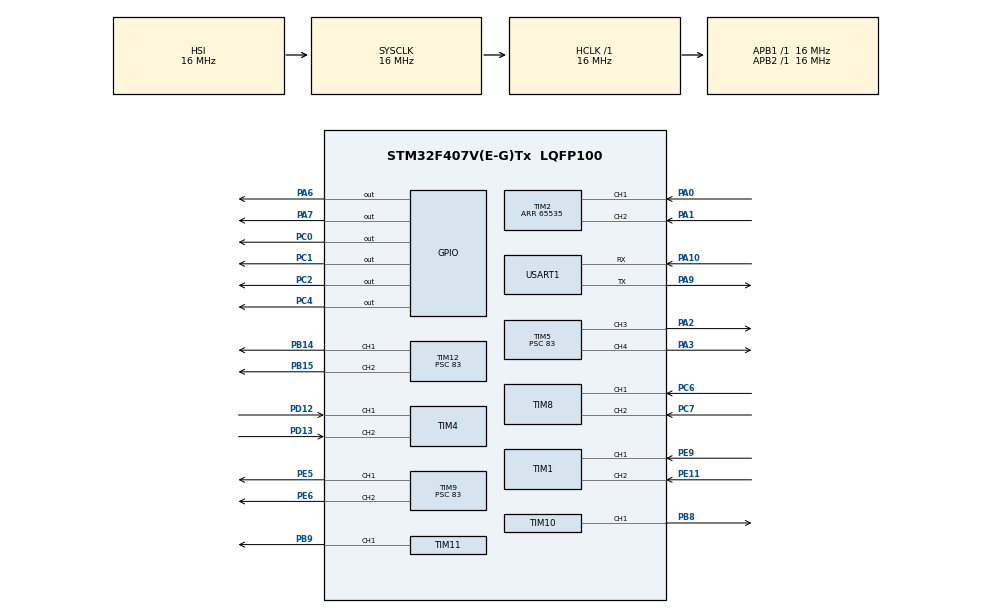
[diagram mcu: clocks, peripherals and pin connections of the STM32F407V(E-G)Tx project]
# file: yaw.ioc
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Mcu.Family=STM32F4
Mcu.Name=STM32F407V(E-G)Tx
Mcu.Package=LQFP100
NVIC.PriorityGroup=NVIC_PRIORITYGROUP_4
NVIC.TIM3_IRQn=true\:0\:0\:false\:false\:true\:true\:true\:true
NVIC.TIM6_DAC_IRQn=true\:0\:0\:false\:false\:true\:true\:true\:true
NVIC.TIM7_IRQn=true\:0\:0\:false\:false\:true\:true\:true\:true
PA0-WKUP.Signal=S_TIM2_CH1_ETR
PA1.Signal=S_TIM2_CH2
PA10.Mode=Asynchronous
PA10.Signal=USART1_RX
PA13.Mode=Serial_Wire
PA13.Signal=SYS_JTMS-SWDIO
PA14.Mode=Serial_Wire
PA14.Signal=SYS_JTCK-SWCLK
PA2.Signal=S_TIM5_CH3
PA3.Signal=S_TIM5_CH4
PA6.Signal=GPIO_Output
PA7.Signal=GPIO_Output
PA9.Mode=Asynchronous
PA9.Signal=USART1_TX
PB14.Signal=S_TIM12_CH1
PB15.Signal=S_TIM12_CH2
PB8.Signal=S_TIM10_CH1
PB9.Signal=S_TIM11_CH1
PC0.Signal=GPIO_Output
PC1.Signal=GPIO_Output
PC2.Signal=GPIO_Output
PC4.Signal=GPIO_Output
PC6.Signal=S_TIM8_CH1
PC7.Signal=S_TIM8_CH2
PD12.Signal=S_TIM4_CH1
PD13.Signal=S_TIM4_CH2
PE11.Signal=S_TIM1_CH2
PE5.Signal=S_TIM9_CH1
PE6.Signal=S_TIM9_CH2
PE9.Signal=S_TIM1_CH1
ProjectManager.HeapSize=0x200
ProjectManager.StackSize=0x400
ProjectManager.TargetToolchain=STM32CubeIDE
RCC.AHBFreq_Value=16000000
RCC.APB1Freq_Value=16000000
RCC.APB2Freq_Value=16000000
RCC.CortexFreq_Value=16000000
RCC.HSE_VALUE=25000000
RCC.HSI_VALUE=16000000
RCC.LSE_VALUE=32768
RCC.SYSCLKFreq_VALUE=16000000
RCC.VCOOutputFreq_Value=192000000
SH.S_TIM10_CH1.0=TIM10_CH1,PWM Generation1 CH1
SH.S_TIM11_CH1.0=TIM11_CH1,PWM Generation1 CH1
SH.S_TIM12_CH1.0=TIM12_CH1,PWM Generation1 CH1
SH.S_TIM12_CH2.0=TIM12_CH2,PWM Generation2 CH2
SH.S_TIM1_CH1.0=TIM1_CH1,Encoder_Interface
SH.S_TIM1_CH2.0=TIM1_CH2,Encoder_Interface
SH.S_TIM2_CH1_ETR.0=TIM2_CH1,Encoder_Interface
SH.S_TIM2_CH2.0=TIM2_CH2,Encoder_Interface
SH.S_TIM4_CH1.0=TIM4_CH1,Encoder_Interface
SH.S_TIM4_CH2.0=TIM4_CH2,Encoder_Interface
SH.S_TIM5_CH3.0=TIM5_CH3,PWM Generation3 CH3
SH.S_TIM5_CH4.0=TIM5_CH4,PWM Generation4 CH4
SH.S_TIM8_CH1.0=TIM8_CH1,Encoder_Interface
SH.S_TIM8_CH2.0=TIM8_CH2,Encoder_Interface
SH.S_TIM9_CH1.0=TIM9_CH1,PWM Generation1 CH1
SH.S_TIM9_CH2.0=TIM9_CH2,PWM Generation2 CH2
TIM1.EncoderMode=TIM_ENCODERMODE_TI12
TIM10.Channel=TIM_CHANNEL_1
TIM10.Period=999
TIM10.Prescaler=83
TIM11.Channel=TIM_CHANNEL_1
TIM11.Period=999
TIM11.Prescaler=83
TIM12.Channel-PWM\ Generation1\ CH1=TIM_CHANNEL_1
TIM12.Channel-PWM\ Generation2\ CH2=TIM_CHANNEL_2
TIM12.Period=999
TIM12.Prescaler=83
TIM2.Period=65535
TIM3.Period=999
TIM3.Prescaler=16-1
TIM4.EncoderMode=TIM_ENCODERMODE_TI12
TIM5.Channel-PWM\ Generation3\ CH3=TIM_CHANNEL_3
TIM5.Channel-PWM\ Generation4\ CH4=TIM_CHANNEL_4
TIM5.Period=999
TIM5.Prescaler=83
TIM6.Period=0xFFFF
TIM6.Prescaler=16-1
TIM7.Period=4999
TIM7.Prescaler=16-1
TIM8.EncoderMode=TIM_ENCODERMODE_TI12
TIM9.Channel-PWM\ Generation1\ CH1=TIM_CHANNEL_1
TIM9.Channel-PWM\ Generation2\ CH2=TIM_CHANNEL_2
TIM9.Period=999
TIM9.Prescaler=83
USART1.VirtualMode=VM_ASYNC
VP_TIM10_VS_ClockSourceINT.Mode=Enable_Timer
VP_TIM11_VS_ClockSourceINT.Mode=Enable_Timer
VP_TIM12_VS_ClockSourceINT.Mode=Internal
VP_TIM3_VS_ClockSourceINT.Mode=Internal
VP_TIM5_VS_ClockSourceINT.Mode=Internal
VP_TIM6_VS_ClockSourceINT.Mode=Enable_Timer
VP_TIM7_VS_ClockSourceINT.Mode=Enable_Timer
VP_TIM9_VS_ClockSourceINT.Mode=Internal
board=custom

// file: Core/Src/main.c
/* USER CODE BEGIN Header */
/**
  ******************************************************************************
  * @file           : main.c
  * @brief          : SolCam Driver
  *                   휠모터4(메카넘) + 리프트(TIM3) + yaw(TIM7) + 엔코더4 + USART1
  ******************************************************************************
  */
/* USER CODE END Header */
#include "main.h"
#include <stdlib.h>
#include <string.h>
#include <math.h>

UART_HandleTypeDef huart1;

TIM_HandleTypeDef htim1;
TIM_HandleTypeDef htim2;
TIM_HandleTypeDef htim3;
TIM_HandleTypeDef htim4;
TIM_HandleTypeDef htim5;
TIM_HandleTypeDef htim6;
TIM_HandleTypeDef htim7;
TIM_HandleTypeDef htim8;
TIM_HandleTypeDef htim9;
TIM_HandleTypeDef htim10;
TIM_HandleTypeDef htim11;
TIM_HandleTypeDef htim12;

void SystemClock_Config(void);
static void MX_GPIO_Init(void);
static void MX_USART1_Init(void);
static void MX_TIM1_Init(void);
static void MX_TIM2_Init(void);
static void MX_TIM3_Init(void);
static void MX_TIM4_Init(void);
static void MX_TIM5_Init(void);
static void MX_TIM6_Init(void);
static void MX_TIM7_Init(void);
static void MX_TIM8_Init(void);
static void MX_TIM9_Init(void);
static void MX_TIM10_Init(void);
static void MX_TIM11_Init(void);
static void MX_TIM12_Init(void);

/* USER CODE BEGIN 0 */

// ==========================================
// UART 프로토콜
// ==========================================
// Jetson → STM32 (28바이트):
// [0xAA][vx:4][vy:4][wz:4][lift_target:4][lift_active:1][yaw_target:4][yaw_active:1][checksum:1]
//
// STM32 → Jetson (19바이트):
// [0xBB][enc1:2][enc2:2][enc3:2][enc4:2][lift_height:4][yaw_angle:4][checksum:1]

#define UART_RX_SIZE    28
#define UART_TX_SIZE    19
#define UART_HEADER_RX  0xAA
#define UART_HEADER_TX  0xBB

uint8_t uart_rx_buf[UART_RX_SIZE];
uint8_t uart_tx_buf[UART_TX_SIZE];
volatile uint8_t uart_rx_ready = 0;

// ==========================================
// 제어 명령
// ==========================================
typedef struct {
    float   vx;
    float   vy;
    float   wz;
    float   lift_target;
    uint8_t lift_active;
    float   yaw_target;
    uint8_t yaw_active;
} ControlCmd;

volatile ControlCmd cmd = {0};

// ==========================================
// 안전 워치독
//   Jetson(브리지)이 죽거나 USB가 빠지면 마지막 PWM이 유지돼 바퀴가 계속
//   돈다. 유효 프레임을 마지막으로 받은 시각을 기록해, CMD_TIMEOUT_MS 동안
//   소식이 없으면 메카넘을 0으로 강제한다(리프트/yaw는 현위치 유지).
// ==========================================
#define CMD_TIMEOUT_MS  300
volatile uint32_t last_cmd_tick = 0;

// ==========================================
// 메카넘 상수
// ==========================================
#define V_MAX       0.4f    // m/s 최대속도
#define PWM_MAX     999     // PWM 최대값
#define WHEEL_R     0.05f   // 휠 반지름 5cm
#define WHEEL_LX    0.36f   // 좌우 거리 절반 (72cm/2)
#define WHEEL_LY    0.26f   // 전후 거리 절반 (52cm/2)

// ==========================================
// 리프트 상수 (NEMA23 + TB6600)
// ==========================================
#define LIFT_STEPS_PER_MM   38.55f
#define LIFT_MIN_MM         0.0f
#define LIFT_MAX_MM         850.0f
#define LIFT_MAX_STEPS      32768

// ==========================================
// yaw 상수 (NEMA17 + A4988)
// ==========================================
#define YAW_STEPS_PER_RAD   636.6f
#define YAW_MIN_STEPS       -10000
#define YAW_MAX_STEPS       10000

// ==========================================
// 리프트 상태
// ==========================================
volatile int32_t lift_current_steps = 0;
volatile int32_t lift_target_steps  = 0;
volatile uint8_t lift_running       = 0;
volatile uint8_t lift_pulse_state   = 0;

// ==========================================
// yaw 상태
// ==========================================
volatile int32_t yaw_current_steps  = 0;
volatile int32_t yaw_target_steps   = 0;
volatile uint8_t yaw_running        = 0;
volatile uint8_t yaw_pulse_state    = 0;

// ==========================================
// delay_us (TIM6)
// ==========================================
void delay_us(uint32_t us)
{
    __HAL_TIM_SET_COUNTER(&htim6, 0);
    while (__HAL_TIM_GET_COUNTER(&htim6) < us);
}

// ==========================================
// 메카넘 역기구학
// 모터배치:
//   1(FL) --- 2(FR)
//   3(RL) --- 4(RR)
// ==========================================
void Mecanum_SetVelocity(float vx, float vy, float wz)
{
    float lxy = WHEEL_LX + WHEEL_LY;
    float w_max_limit = V_MAX / WHEEL_R;

    // 역기구학 계산
    float w_fl = (vx - vy - lxy * wz) / WHEEL_R;  // 모터1
    float w_fr = (vx + vy + lxy * wz) / WHEEL_R;  // 모터2
    float w_rl = (vx + vy - lxy * wz) / WHEEL_R;  // 모터3
    float w_rr = (vx - vy + lxy * wz) / WHEEL_R;  // 모터4

    // 정규화
    float max_w = fabsf(w_fl);
    if (fabsf(w_fr) > max_w) max_w = fabsf(w_fr);
    if (fabsf(w_rl) > max_w) max_w = fabsf(w_rl);
    if (fabsf(w_rr) > max_w) max_w = fabsf(w_rr);

    if (max_w > w_max_limit) {
        w_fl = w_fl / max_w * w_max_limit;
        w_fr = w_fr / max_w * w_max_limit;
        w_rl = w_rl / max_w * w_max_limit;
        w_rr = w_rr / max_w * w_max_limit;
    }

    // 모터1 FL (htim10 R_PWM, htim11 L_PWM)
    if (w_fl >= 0) {
        __HAL_TIM_SET_COMPARE(&htim10, TIM_CHANNEL_1,
            (uint32_t)(w_fl / w_max_limit * PWM_MAX));
        __HAL_TIM_SET_COMPARE(&htim11, TIM_CHANNEL_1, 0);
    } else {
        __HAL_TIM_SET_COMPARE(&htim10, TIM_CHANNEL_1, 0);
        __HAL_TIM_SET_COMPARE(&htim11, TIM_CHANNEL_1,
            (uint32_t)(-w_fl / w_max_limit * PWM_MAX));
    }

    // 모터2 FR (htim5 CH3 R_PWM, CH4 L_PWM)
    if (w_fr >= 0) {
        __HAL_TIM_SET_COMPARE(&htim5, TIM_CHANNEL_3,
            (uint32_t)(w_fr / w_max_limit * PWM_MAX));
        __HAL_TIM_SET_COMPARE(&htim5, TIM_CHANNEL_4, 0);
    } else {
        __HAL_TIM_SET_COMPARE(&htim5, TIM_CHANNEL_3, 0);
        __HAL_TIM_SET_COMPARE(&htim5, TIM_CHANNEL_4,
            (uint32_t)(-w_fr / w_max_limit * PWM_MAX));
    }

    // 모터3 RL (htim9 CH1 R_PWM, CH2 L_PWM)
    if (w_rl >= 0) {
        __HAL_TIM_SET_COMPARE(&htim9, TIM_CHANNEL_1,
            (uint32_t)(w_rl / w_max_limit * PWM_MAX));
        __HAL_TIM_SET_COMPARE(&htim9, TIM_CHANNEL_2, 0);
    } else {
        __HAL_TIM_SET_COMPARE(&htim9, TIM_CHANNEL_1, 0);
        __HAL_TIM_SET_COMPARE(&htim9, TIM_CHANNEL_2,
            (uint32_t)(-w_rl / w_max_limit * PWM_MAX));
    }

    // 모터4 RR (htim12 CH1 R_PWM, CH2 L_PWM)
    if (w_rr >= 0) {
        __HAL_TIM_SET_COMPARE(&htim12, TIM_CHANNEL_1,
            (uint32_t)(w_rr / w_max_limit * PWM_MAX));
        __HAL_TIM_SET_COMPARE(&htim12, TIM_CHANNEL_2, 0);
    } else {
        __HAL_TIM_SET_COMPARE(&htim12, TIM_CHANNEL_1, 0);
        __HAL_TIM_SET_COMPARE(&htim12, TIM_CHANNEL_2,
            (uint32_t)(-w_rr / w_max_limit * PWM_MAX));
    }
}

// ==========================================
// 리프트 제어
// ==========================================
int32_t lift_meter_to_steps(float height_m)
{
    float height_mm = height_m * 1000.0f;
    if (height_mm < LIFT_MIN_MM) height_mm = LIFT_MIN_MM;
    if (height_mm > LIFT_MAX_MM) height_mm = LIFT_MAX_MM;
    return (int32_t)(height_mm * LIFT_STEPS_PER_MM);
}

float lift_steps_to_meter(int32_t steps)
{
    return (float)steps / LIFT_STEPS_PER_MM / 1000.0f;
}

void Lift_SetTarget(float target_m, uint8_t active)
{
    if (!active) {
        lift_running = 0;
        HAL_TIM_Base_Stop_IT(&htim3);
        return;
    }

    int32_t target = lift_meter_to_steps(target_m);
    int32_t delta  = target - lift_current_steps;
    if (abs(delta) < 5) return;

    lift_target_steps = target;
    lift_running      = 1;

    if (delta > 0)
        HAL_GPIO_WritePin(GPIOA, GPIO_PIN_7, GPIO_PIN_SET);   // UP
    else
        HAL_GPIO_WritePin(GPIOA, GPIO_PIN_7, GPIO_PIN_RESET); // DOWN

    delay_us(5);
    HAL_TIM_Base_Start_IT(&htim3);
}

float Lift_GetHeight(void)
{
    return lift_steps_to_meter(lift_current_steps);
}

// ==========================================
// yaw 제어
// ==========================================
void Yaw_SetTarget(float target_rad, uint8_t active)
{
    if (!active) {
        yaw_running = 0;
        HAL_TIM_Base_Stop_IT(&htim7);
        return;
    }

    int32_t target = (int32_t)(target_rad * YAW_STEPS_PER_RAD);

    // 소프트 리밋
    if (target > YAW_MAX_STEPS) target = YAW_MAX_STEPS;
    if (target < YAW_MIN_STEPS) target = YAW_MIN_STEPS;

    int32_t delta = target - yaw_current_steps;
    if (abs(delta) < 2) return;

    yaw_target_steps = target;
    yaw_running      = 1;

    if (delta > 0)
        HAL_GPIO_WritePin(GPIOC, GPIO_PIN_1, GPIO_PIN_SET);   // CW
    else
        HAL_GPIO_WritePin(GPIOC, GPIO_PIN_1, GPIO_PIN_RESET); // CCW

    delay_us(5);
    HAL_TIM_Base_Start_IT(&htim7);
}

float Yaw_GetAngle(void)
{
    return (float)yaw_current_steps / YAW_STEPS_PER_RAD;
}

// ==========================================
// TIM 인터럽트 콜백
// ==========================================
void HAL_TIM_PeriodElapsedCallback(TIM_HandleTypeDef *htim)
{
    // 리프트 (TIM3)
    if (htim->Instance == TIM3)
    {
        if (!lift_running) return;

        // 소프트 리밋
        if (lift_current_steps <= 0 &&
            HAL_GPIO_ReadPin(GPIOA, GPIO_PIN_7) == GPIO_PIN_RESET) {
            lift_running = 0;
            HAL_TIM_Base_Stop_IT(&htim3);
            return;
        }
        if (lift_current_steps >= LIFT_MAX_STEPS &&
            HAL_GPIO_ReadPin(GPIOA, GPIO_PIN_7) == GPIO_PIN_SET) {
            lift_running = 0;
            HAL_TIM_Base_Stop_IT(&htim3);
            return;
        }

        // 목표 도달
        if (lift_current_steps == lift_target_steps) {
            lift_running = 0;
            HAL_TIM_Base_Stop_IT(&htim3);
            return;
        }

        // 펄스 토글
        lift_pulse_state = !lift_pulse_state;
        HAL_GPIO_WritePin(GPIOA, GPIO_PIN_6,
            lift_pulse_state ? GPIO_PIN_SET : GPIO_PIN_RESET);

        // 스텝 카운터
        if (lift_pulse_state) {
            if (HAL_GPIO_ReadPin(GPIOA, GPIO_PIN_7) == GPIO_PIN_SET)
                lift_current_steps++;
            else
                lift_current_steps--;
        }
    }

    // yaw (TIM7)
    if (htim->Instance == TIM7)
    {
        if (!yaw_running) return;

        // 목표 도달
        if (yaw_current_steps == yaw_target_steps) {
            yaw_running = 0;
            HAL_TIM_Base_Stop_IT(&htim7);
            return;
        }

        // 소프트 리밋
        if (yaw_current_steps <= YAW_MIN_STEPS &&
            HAL_GPIO_ReadPin(GPIOC, GPIO_PIN_1) == GPIO_PIN_RESET) {
            yaw_running = 0;
            HAL_TIM_Base_Stop_IT(&htim7);
            return;
        }
        if (yaw_current_steps >= YAW_MAX_STEPS &&
            HAL_GPIO_ReadPin(GPIOC, GPIO_PIN_1) == GPIO_PIN_SET) {
            yaw_running = 0;
            HAL_TIM_Base_Stop_IT(&htim7);
            return;
        }

        // 펄스 토글
        yaw_pulse_state = !yaw_pulse_state;
        HAL_GPIO_WritePin(GPIOC, GPIO_PIN_0,
            yaw_pulse_state ? GPIO_PIN_SET : GPIO_PIN_RESET);

        // 스텝 카운터
        if (yaw_pulse_state) {
            if (HAL_GPIO_ReadPin(GPIOC, GPIO_PIN_1) == GPIO_PIN_SET)
                yaw_current_steps++;
            else
                yaw_current_steps--;
        }
    }
}

// ==========================================
// UART 체크섬
// ==========================================
uint8_t calc_checksum(uint8_t *buf, uint16_t len)
{
    uint8_t sum = 0;
    for (uint16_t i = 0; i < len; i++) sum += buf[i];
    return sum;
}

// ==========================================
// UART 수신 콜백
// ==========================================
void HAL_UART_RxCpltCallback(UART_HandleTypeDef *huart)
{
    if (huart->Instance == USART1)
    {
        // 헤더 확인
        if (uart_rx_buf[0] != UART_HEADER_RX) {
            HAL_UART_Receive_IT(&huart1, uart_rx_buf, UART_RX_SIZE);
            return;
        }

        // 체크섬 확인
        uint8_t checksum = calc_checksum(uart_rx_buf, UART_RX_SIZE - 1);
        if (checksum != uart_rx_buf[UART_RX_SIZE - 1]) {
            HAL_UART_Receive_IT(&huart1, uart_rx_buf, UART_RX_SIZE);
            return;
        }

        // 파싱
        uint8_t *p = &uart_rx_buf[1];
        memcpy((void*)&cmd.vx,          p, 4); p += 4;
        memcpy((void*)&cmd.vy,          p, 4); p += 4;
        memcpy((void*)&cmd.wz,          p, 4); p += 4;
        memcpy((void*)&cmd.lift_target, p, 4); p += 4;
        cmd.lift_active = *p++;
        memcpy((void*)&cmd.yaw_target,  p, 4); p += 4;
        cmd.yaw_active  = *p;

        uart_rx_ready = 1;
        last_cmd_tick = HAL_GetTick();   // 워치독 갱신 (유효 프레임 수신)

        HAL_UART_Receive_IT(&huart1, uart_rx_buf, UART_RX_SIZE);
    }
}

// ==========================================
// Jetson으로 상태 송신
// ==========================================
void UART_SendStatus(int16_t e1, int16_t e2,
                     int16_t e3, int16_t e4)
{
    uint8_t *p = uart_tx_buf;
    *p++ = UART_HEADER_TX;
    memcpy(p, &e1, 2); p += 2;
    memcpy(p, &e2, 2); p += 2;
    memcpy(p, &e3, 2); p += 2;
    memcpy(p, &e4, 2); p += 2;

    float lift_h = Lift_GetHeight();
    float yaw_a  = Yaw_GetAngle();
    memcpy(p, &lift_h, 4); p += 4;   // [9..12]
    memcpy(p, &yaw_a,  4); p += 4;   // [13..16], p → 17

    // [17] reserved 를 먼저 0으로 확정한 뒤 체크섬을 계산해야
    //  sum(bytes[0..17]) 이 결정적이다. (원본은 미초기화 바이트가 섞여 버그)
    *p++ = 0;                                            // [17] reserved
    *p   = calc_checksum(uart_tx_buf, UART_TX_SIZE - 1); // [18] = sum(bytes[0..17])

    HAL_UART_Transmit(&huart1, uart_tx_buf, UART_TX_SIZE, 10);
}

/* USER CODE END 0 */

int main(void)
{
    HAL_Init();
    SystemClock_Config();

    MX_GPIO_Init();
    MX_USART1_Init();
    MX_TIM1_Init();
    MX_TIM2_Init();
    MX_TIM3_Init();
    MX_TIM4_Init();
    MX_TIM5_Init();
    MX_TIM6_Init();
    MX_TIM7_Init();
    MX_TIM8_Init();
    MX_TIM9_Init();
    MX_TIM10_Init();
    MX_TIM11_Init();
    MX_TIM12_Init();

    // 엔코더 시작
    HAL_TIM_Encoder_Start(&htim1, TIM_CHANNEL_ALL);
    HAL_TIM_Encoder_Start(&htim2, TIM_CHANNEL_ALL);
    HAL_TIM_Encoder_Start(&htim4, TIM_CHANNEL_ALL);
    HAL_TIM_Encoder_Start(&htim8, TIM_CHANNEL_ALL);

    // 휠모터 PWM 시작
    HAL_TIM_PWM_Start(&htim10, TIM_CHANNEL_1);
    HAL_TIM_PWM_Start(&htim11, TIM_CHANNEL_1);
    HAL_TIM_PWM_Start(&htim5,  TIM_CHANNEL_3);
    HAL_TIM_PWM_Start(&htim5,  TIM_CHANNEL_4);
    HAL_TIM_PWM_Start(&htim9,  TIM_CHANNEL_1);
    HAL_TIM_PWM_Start(&htim9,  TIM_CHANNEL_2);
    HAL_TIM_PWM_Start(&htim12, TIM_CHANNEL_1);
    HAL_TIM_PWM_Start(&htim12, TIM_CHANNEL_2);

    // 리프트 초기화
    // 수정
    HAL_GPIO_WritePin(GPIOC, GPIO_PIN_4, GPIO_PIN_SET);   // 리프트 ENA
    HAL_GPIO_WritePin(GPIOA, GPIO_PIN_6 | GPIO_PIN_7, GPIO_PIN_RESET); // 리프트 STEP/DIR 초기화

    // yaw 초기화
    HAL_GPIO_WritePin(GPIOC, GPIO_PIN_2, GPIO_PIN_SET);  // ENA
    HAL_GPIO_WritePin(GPIOC, GPIO_PIN_0 | GPIO_PIN_1, GPIO_PIN_RESET);

    // TIM6 카운터 시작 (delay_us용)
    HAL_TIM_Base_Start(&htim6);

    // 휠모터 정지
    Mecanum_SetVelocity(0.0f, 0.0f, 0.0f);

    // UART 수신 시작
    HAL_UART_Receive_IT(&huart1, uart_rx_buf, UART_RX_SIZE);

    while (1)
    {
        if (uart_rx_ready)
        {
            uart_rx_ready = 0;

            // A. 휠모터
            Mecanum_SetVelocity(cmd.vx, cmd.vy, cmd.wz);

            // B. 리프트
            Lift_SetTarget(cmd.lift_target, cmd.lift_active);

            // C. yaw
            Yaw_SetTarget(cmd.yaw_target, cmd.yaw_active);
        }

        // 안전 워치독: 명령이 CMD_TIMEOUT_MS 이상 끊기면 휠 강제 정지.
        //  (리프트/yaw는 스텝 위치 유지 = 떨어지거나 풀리지 않음)
        if ((HAL_GetTick() - last_cmd_tick) > CMD_TIMEOUT_MS) {
            Mecanum_SetVelocity(0.0f, 0.0f, 0.0f);
        }

        // D. 엔코더 읽기 + Jetson 송신
        int16_t enc1 = (int16_t)__HAL_TIM_GET_COUNTER(&htim1);
        int16_t enc2 = (int16_t)__HAL_TIM_GET_COUNTER(&htim2);
        int16_t enc3 = (int16_t)__HAL_TIM_GET_COUNTER(&htim4);
        int16_t enc4 = (int16_t)__HAL_TIM_GET_COUNTER(&htim8);

        __HAL_TIM_SET_COUNTER(&htim1, 0);
        __HAL_TIM_SET_COUNTER(&htim2, 0);
        __HAL_TIM_SET_COUNTER(&htim4, 0);
        __HAL_TIM_SET_COUNTER(&htim8, 0);

        UART_SendStatus(enc1, enc2, enc3, enc4);

        HAL_Delay(10);
    }
}

void SystemClock_Config(void)
{
    RCC_OscInitTypeDef RCC_OscInitStruct = {0};
    RCC_ClkInitTypeDef RCC_ClkInitStruct = {0};

    __HAL_RCC_PWR_CLK_ENABLE();
    __HAL_PWR_VOLTAGESCALING_CONFIG(PWR_REGULATOR_VOLTAGE_SCALE1);

    RCC_OscInitStruct.OscillatorType = RCC_OSCILLATORTYPE_HSI;
    RCC_OscInitStruct.HSIState = RCC_HSI_ON;
    RCC_OscInitStruct.HSICalibrationValue = RCC_HSICALIBRATION_DEFAULT;
    RCC_OscInitStruct.PLL.PLLState = RCC_PLL_NONE;
    if (HAL_RCC_OscConfig(&RCC_OscInitStruct) != HAL_OK) { Error_Handler(); }

    RCC_ClkInitStruct.ClockType = RCC_CLOCKTYPE_HCLK|RCC_CLOCKTYPE_SYSCLK
                                |RCC_CLOCKTYPE_PCLK1|RCC_CLOCKTYPE_PCLK2;
    RCC_ClkInitStruct.SYSCLKSource = RCC_SYSCLKSOURCE_HSI;
    RCC_ClkInitStruct.AHBCLKDivider = RCC_SYSCLK_DIV1;
    RCC_ClkInitStruct.APB1CLKDivider = RCC_HCLK_DIV1;
    RCC_ClkInitStruct.APB2CLKDivider = RCC_HCLK_DIV1;
    if (HAL_RCC_ClockConfig(&RCC_ClkInitStruct, FLASH_LATENCY_0) != HAL_OK) { Error_Handler(); }
}

// ======================================================================
// USART1
// ======================================================================
static void MX_USART1_Init(void)
{
    huart1.Instance = USART1;
    huart1.Init.BaudRate = 115200;
    huart1.Init.WordLength = UART_WORDLENGTH_8B;
    huart1.Init.StopBits = UART_STOPBITS_1;
    huart1.Init.Parity = UART_PARITY_NONE;
    huart1.Init.Mode = UART_MODE_TX_RX;
    huart1.Init.HwFlowCtl = UART_HWCONTROL_NONE;
    huart1.Init.OverSampling = UART_OVERSAMPLING_16;
    if (HAL_UART_Init(&huart1) != HAL_OK) { Error_Handler(); }
}

// ======================================================================
// ENCODER TIMERS
// ======================================================================
static void MX_TIM1_Init(void)
{
    TIM_Encoder_InitTypeDef sConfig = {0};
    TIM_MasterConfigTypeDef sMasterConfig = {0};

    htim1.Instance = TIM1;
    htim1.Init.Prescaler = 0;
    htim1.Init.CounterMode = TIM_COUNTERMODE_UP;
    htim1.Init.Period = 65535;
    htim1.Init.ClockDivision = TIM_CLOCKDIVISION_DIV1;
    htim1.Init.RepetitionCounter = 0;
    htim1.Init.AutoReloadPreload = TIM_AUTORELOAD_PRELOAD_DISABLE;
    sConfig.EncoderMode = TIM_ENCODERMODE_TI12;
    sConfig.IC1Polarity = TIM_ICPOLARITY_RISING;
    sConfig.IC1Selection = TIM_ICSELECTION_DIRECTTI;
    sConfig.IC1Prescaler = TIM_ICPSC_DIV1;
    sConfig.IC1Filter = 0;
    sConfig.IC2Polarity = TIM_ICPOLARITY_RISING;
    sConfig.IC2Selection = TIM_ICSELECTION_DIRECTTI;
    sConfig.IC2Prescaler = TIM_ICPSC_DIV1;
    sConfig.IC2Filter = 0;
    if (HAL_TIM_Encoder_Init(&htim1, &sConfig) != HAL_OK) { Error_Handler(); }
    sMasterConfig.MasterOutputTrigger = TIM_TRGO_RESET;
    sMasterConfig.MasterSlaveMode = TIM_MASTERSLAVEMODE_DISABLE;
    if (HAL_TIMEx_MasterConfigSynchronization(&htim1, &sMasterConfig) != HAL_OK) { Error_Handler(); }
}

static void MX_TIM2_Init(void)
{
    TIM_Encoder_InitTypeDef sConfig = {0};
    TIM_MasterConfigTypeDef sMasterConfig = {0};

    htim2.Instance = TIM2;
    htim2.Init.Prescaler = 0;
    htim2.Init.CounterMode = TIM_COUNTERMODE_UP;
    htim2.Init.Period = 4294967295;
    htim2.Init.ClockDivision = TIM_CLOCKDIVISION_DIV1;
    htim2.Init.AutoReloadPreload = TIM_AUTORELOAD_PRELOAD_DISABLE;
    sConfig.EncoderMode = TIM_ENCODERMODE_TI12;
    sConfig.IC1Polarity = TIM_ICPOLARITY_RISING;
    sConfig.IC1Selection = TIM_ICSELECTION_DIRECTTI;
    sConfig.IC1Prescaler = TIM_ICPSC_DIV1;
    sConfig.IC1Filter = 0;
    sConfig.IC2Polarity = TIM_ICPOLARITY_RISING;
    sConfig.IC2Selection = TIM_ICSELECTION_DIRECTTI;
    sConfig.IC2Prescaler = TIM_ICPSC_DIV1;
    sConfig.IC2Filter = 0;
    if (HAL_TIM_Encoder_Init(&htim2, &sConfig) != HAL_OK) { Error_Handler(); }
    sMasterConfig.MasterOutputTrigger = TIM_TRGO_RESET;
    sMasterConfig.MasterSlaveMode = TIM_MASTERSLAVEMODE_DISABLE;
    if (HAL_TIMEx_MasterConfigSynchronization(&htim2, &sMasterConfig) != HAL_OK) { Error_Handler(); }
}

static void MX_TIM4_Init(void)
{
    TIM_Encoder_InitTypeDef sConfig = {0};
    TIM_MasterConfigTypeDef sMasterConfig = {0};

    htim4.Instance = TIM4;
    htim4.Init.Prescaler = 0;
    htim4.Init.CounterMode = TIM_COUNTERMODE_UP;
    htim4.Init.Period = 65535;
    htim4.Init.ClockDivision = TIM_CLOCKDIVISION_DIV1;
    htim4.Init.AutoReloadPreload = TIM_AUTORELOAD_PRELOAD_DISABLE;
    sConfig.EncoderMode = TIM_ENCODERMODE_TI12;
    sConfig.IC1Polarity = TIM_ICPOLARITY_RISING;
    sConfig.IC1Selection = TIM_ICSELECTION_DIRECTTI;
    sConfig.IC1Prescaler = TIM_ICPSC_DIV1;
    sConfig.IC1Filter = 0;
    sConfig.IC2Polarity = TIM_ICPOLARITY_RISING;
    sConfig.IC2Selection = TIM_ICSELECTION_DIRECTTI;
    sConfig.IC2Prescaler = TIM_ICPSC_DIV1;
    sConfig.IC2Filter = 0;
    if (HAL_TIM_Encoder_Init(&htim4, &sConfig) != HAL_OK) { Error_Handler(); }
    sMasterConfig.MasterOutputTrigger = TIM_TRGO_RESET;
    sMasterConfig.MasterSlaveMode = TIM_MASTERSLAVEMODE_DISABLE;
    if (HAL_TIMEx_MasterConfigSynchronization(&htim4, &sMasterConfig) != HAL_OK) { Error_Handler(); }
}

static void MX_TIM8_Init(void)
{
    TIM_Encoder_InitTypeDef sConfig = {0};
    TIM_MasterConfigTypeDef sMasterConfig = {0};

    htim8.Instance = TIM8;
    htim8.Init.Prescaler = 0;
    htim8.Init.CounterMode = TIM_COUNTERMODE_UP;
    htim8.Init.Period = 65535;
    htim8.Init.ClockDivision = TIM_CLOCKDIVISION_DIV1;
    htim8.Init.RepetitionCounter = 0;
    htim8.Init.AutoReloadPreload = TIM_AUTORELOAD_PRELOAD_DISABLE;
    sConfig.EncoderMode = TIM_ENCODERMODE_TI12;
    sConfig.IC1Polarity = TIM_ICPOLARITY_RISING;
    sConfig.IC1Selection = TIM_ICSELECTION_DIRECTTI;
    sConfig.IC1Prescaler = TIM_ICPSC_DIV1;
    sConfig.IC1Filter = 0;
    sConfig.IC2Polarity = TIM_ICPOLARITY_RISING;
    sConfig.IC2Selection = TIM_ICSELECTION_DIRECTTI;
    sConfig.IC2Prescaler = TIM_ICPSC_DIV1;
    sConfig.IC2Filter = 0;
    if (HAL_TIM_Encoder_Init(&htim8, &sConfig) != HAL_OK) { Error_Handler(); }
    sMasterConfig.MasterOutputTrigger = TIM_TRGO_RESET;
    sMasterConfig.MasterSlaveMode = TIM_MASTERSLAVEMODE_DISABLE;
    if (HAL_TIMEx_MasterConfigSynchronization(&htim8, &sMasterConfig) != HAL_OK) { Error_Handler(); }
}

// ======================================================================
// BASE / INTERRUPT TIMERS
// ======================================================================
static void MX_TIM3_Init(void)
{
    TIM_ClockConfigTypeDef sClockSourceConfig = {0};
    TIM_MasterConfigTypeDef sMasterConfig = {0};

    htim3.Instance = TIM3;
    htim3.Init.Prescaler = 16-1;
    htim3.Init.CounterMode = TIM_COUNTERMODE_UP;
    htim3.Init.Period = 999;
    htim3.Init.ClockDivision = TIM_CLOCKDIVISION_DIV1;
    htim3.Init.AutoReloadPreload = TIM_AUTORELOAD_PRELOAD_DISABLE;
    if (HAL_TIM_Base_Init(&htim3) != HAL_OK) { Error_Handler(); }
    sClockSourceConfig.ClockSource = TIM_CLOCKSOURCE_INTERNAL;
    if (HAL_TIM_ConfigClockSource(&htim3, &sClockSourceConfig) != HAL_OK) { Error_Handler(); }
    sMasterConfig.MasterOutputTrigger = TIM_TRGO_RESET;
    sMasterConfig.MasterSlaveMode = TIM_MASTERSLAVEMODE_DISABLE;
    if (HAL_TIMEx_MasterConfigSynchronization(&htim3, &sMasterConfig) != HAL_OK) { Error_Handler(); }
}

static void MX_TIM6_Init(void)
{
    TIM_MasterConfigTypeDef sMasterConfig = {0};

    htim6.Instance = TIM6;
    htim6.Init.Prescaler = 16-1;
    htim6.Init.CounterMode = TIM_COUNTERMODE_UP;
    htim6.Init.Period = 0xFFFF;
    htim6.Init.AutoReloadPreload = TIM_AUTORELOAD_PRELOAD_DISABLE;
    if (HAL_TIM_Base_Init(&htim6) != HAL_OK) { Error_Handler(); }
    sMasterConfig.MasterOutputTrigger = TIM_TRGO_RESET;
    sMasterConfig.MasterSlaveMode = TIM_MASTERSLAVEMODE_DISABLE;
    if (HAL_TIMEx_MasterConfigSynchronization(&htim6, &sMasterConfig) != HAL_OK) { Error_Handler(); }
}

static void MX_TIM7_Init(void)
{
    TIM_MasterConfigTypeDef sMasterConfig = {0};

    htim7.Instance = TIM7;
    htim7.Init.Prescaler = 16-1;
    htim7.Init.CounterMode = TIM_COUNTERMODE_UP;
    htim7.Init.Period = 4999;
    htim7.Init.AutoReloadPreload = TIM_AUTORELOAD_PRELOAD_DISABLE;
    if (HAL_TIM_Base_Init(&htim7) != HAL_OK) { Error_Handler(); }
    sMasterConfig.MasterOutputTrigger = TIM_TRGO_RESET;
    sMasterConfig.MasterSlaveMode = TIM_MASTERSLAVEMODE_DISABLE;
    if (HAL_TIMEx_MasterConfigSynchronization(&htim7, &sMasterConfig) != HAL_OK) { Error_Handler(); }
}

// ======================================================================
// PWM TIMERS
// ======================================================================
static void MX_TIM5_Init(void)
{
    TIM_ClockConfigTypeDef sClockSourceConfig = {0};
    TIM_OC_InitTypeDef sConfigOC = {0};

    htim5.Instance = TIM5;
    htim5.Init.Prescaler = 83;
    htim5.Init.CounterMode = TIM_COUNTERMODE_UP;
    htim5.Init.Period = 999;
    htim5.Init.ClockDivision = TIM_CLOCKDIVISION_DIV1;
    htim5.Init.AutoReloadPreload = TIM_AUTORELOAD_PRELOAD_DISABLE;
    if (HAL_TIM_Base_Init(&htim5) != HAL_OK) { Error_Handler(); }
    sClockSourceConfig.ClockSource = TIM_CLOCKSOURCE_INTERNAL;
    if (HAL_TIM_ConfigClockSource(&htim5, &sClockSourceConfig) != HAL_OK) { Error_Handler(); }
    if (HAL_TIM_PWM_Init(&htim5) != HAL_OK) { Error_Handler(); }
    sConfigOC.OCMode = TIM_OCMODE_PWM1;
    sConfigOC.Pulse = 0;
    sConfigOC.OCPolarity = TIM_OCPOLARITY_HIGH;
    sConfigOC.OCFastMode = TIM_OCFAST_DISABLE;
    if (HAL_TIM_PWM_ConfigChannel(&htim5, &sConfigOC, TIM_CHANNEL_3) != HAL_OK) { Error_Handler(); }
    if (HAL_TIM_PWM_ConfigChannel(&htim5, &sConfigOC, TIM_CHANNEL_4) != HAL_OK) { Error_Handler(); }
    HAL_TIM_MspPostInit(&htim5);
}

static void MX_TIM9_Init(void)
{
    TIM_ClockConfigTypeDef sClockSourceConfig = {0};
    TIM_OC_InitTypeDef sConfigOC = {0};

    htim9.Instance = TIM9;
    htim9.Init.Prescaler = 83;
    htim9.Init.CounterMode = TIM_COUNTERMODE_UP;
    htim9.Init.Period = 999;
    htim9.Init.ClockDivision = TIM_CLOCKDIVISION_DIV1;
    htim9.Init.AutoReloadPreload = TIM_AUTORELOAD_PRELOAD_DISABLE;
    if (HAL_TIM_Base_Init(&htim9) != HAL_OK) { Error_Handler(); }
    sClockSourceConfig.ClockSource = TIM_CLOCKSOURCE_INTERNAL;
    if (HAL_TIM_ConfigClockSource(&htim9, &sClockSourceConfig) != HAL_OK) { Error_Handler(); }
    if (HAL_TIM_PWM_Init(&htim9) != HAL_OK) { Error_Handler(); }
    sConfigOC.OCMode = TIM_OCMODE_PWM1;
    sConfigOC.Pulse = 0;
    sConfigOC.OCPolarity = TIM_OCPOLARITY_HIGH;
    sConfigOC.OCFastMode = TIM_OCFAST_DISABLE;
    if (HAL_TIM_PWM_ConfigChannel(&htim9, &sConfigOC, TIM_CHANNEL_1) != HAL_OK) { Error_Handler(); }
    if (HAL_TIM_PWM_ConfigChannel(&htim9, &sConfigOC, TIM_CHANNEL_2) != HAL_OK) { Error_Handler(); }
    HAL_TIM_MspPostInit(&htim9);
}

static void MX_TIM10_Init(void)
{
    TIM_OC_InitTypeDef sConfigOC = {0};

    htim10.Instance = TIM10;
    htim10.Init.Prescaler = 83;
    htim10.Init.CounterMode = TIM_COUNTERMODE_UP;
    htim10.Init.Period = 999;
    htim10.Init.ClockDivision = TIM_CLOCKDIVISION_DIV1;
    htim10.Init.AutoReloadPreload = TIM_AUTORELOAD_PRELOAD_DISABLE;
    if (HAL_TIM_Base_Init(&htim10) != HAL_OK) { Error_Handler(); }
    if (HAL_TIM_PWM_Init(&htim10) != HAL_OK) { Error_Handler(); }
    sConfigOC.OCMode = TIM_OCMODE_PWM1;
    sConfigOC.Pulse = 0;
    sConfigOC.OCPolarity = TIM_OCPOLARITY_HIGH;
    sConfigOC.OCFastMode = TIM_OCFAST_DISABLE;
    if (HAL_TIM_PWM_ConfigChannel(&htim10, &sConfigOC, TIM_CHANNEL_1) != HAL_OK) { Error_Handler(); }
    HAL_TIM_MspPostInit(&htim10);
}

static void MX_TIM11_Init(void)
{
    TIM_OC_InitTypeDef sConfigOC = {0};

    htim11.Instance = TIM11;
    htim11.Init.Prescaler = 83;
    htim11.Init.CounterMode = TIM_COUNTERMODE_UP;
    htim11.Init.Period = 999;
    htim11.Init.ClockDivision = TIM_CLOCKDIVISION_DIV1;
    htim11.Init.AutoReloadPreload = TIM_AUTORELOAD_PRELOAD_DISABLE;
    if (HAL_TIM_Base_Init(&htim11) != HAL_OK) { Error_Handler(); }
    if (HAL_TIM_PWM_Init(&htim11) != HAL_OK) { Error_Handler(); }
    sConfigOC.OCMode = TIM_OCMODE_PWM1;
    sConfigOC.Pulse = 0;
    sConfigOC.OCPolarity = TIM_OCPOLARITY_HIGH;
    sConfigOC.OCFastMode = TIM_OCFAST_DISABLE;
    if (HAL_TIM_PWM_ConfigChannel(&htim11, &sConfigOC, TIM_CHANNEL_1) != HAL_OK) { Error_Handler(); }
    HAL_TIM_MspPostInit(&htim11);
}

static void MX_TIM12_Init(void)
{
    TIM_ClockConfigTypeDef sClockSourceConfig = {0};
    TIM_OC_InitTypeDef sConfigOC = {0};

    htim12.Instance = TIM12;
    htim12.Init.Prescaler = 83;
    htim12.Init.CounterMode = TIM_COUNTERMODE_UP;
    htim12.Init.Period = 999;
    htim12.Init.ClockDivision = TIM_CLOCKDIVISION_DIV1;
    htim12.Init.AutoReloadPreload = TIM_AUTORELOAD_PRELOAD_DISABLE;
    if (HAL_TIM_Base_Init(&htim12) != HAL_OK) { Error_Handler(); }
    sClockSourceConfig.ClockSource = TIM_CLOCKSOURCE_INTERNAL;
    if (HAL_TIM_ConfigClockSource(&htim12, &sClockSourceConfig) != HAL_OK) { Error_Handler(); }
    if (HAL_TIM_PWM_Init(&htim12) != HAL_OK) { Error_Handler(); }
    sConfigOC.OCMode = TIM_OCMODE_PWM1;
    sConfigOC.Pulse = 0;
    sConfigOC.OCPolarity = TIM_OCPOLARITY_HIGH;
    sConfigOC.OCFastMode = TIM_OCFAST_DISABLE;
    if (HAL_TIM_PWM_ConfigChannel(&htim12, &sConfigOC, TIM_CHANNEL_1) != HAL_OK) { Error_Handler(); }
    if (HAL_TIM_PWM_ConfigChannel(&htim12, &sConfigOC, TIM_CHANNEL_2) != HAL_OK) { Error_Handler(); }
    HAL_TIM_MspPostInit(&htim12);
}

static void MX_GPIO_Init(void)
{
    GPIO_InitTypeDef GPIO_InitStruct = {0};

    __HAL_RCC_GPIOA_CLK_ENABLE();
    __HAL_RCC_GPIOB_CLK_ENABLE();
    __HAL_RCC_GPIOC_CLK_ENABLE();
    __HAL_RCC_GPIOD_CLK_ENABLE();
    __HAL_RCC_GPIOE_CLK_ENABLE();

    HAL_GPIO_WritePin(GPIOA, GPIO_PIN_6 | GPIO_PIN_7, GPIO_PIN_RESET);
    HAL_GPIO_WritePin(GPIOC, GPIO_PIN_0 | GPIO_PIN_1 |
                             GPIO_PIN_2 | GPIO_PIN_4, GPIO_PIN_RESET);

    // PA6 리프트STEP, PA7 리프트DIR
    GPIO_InitStruct.Pin = GPIO_PIN_6 | GPIO_PIN_7;
    GPIO_InitStruct.Mode = GPIO_MODE_OUTPUT_PP;
    GPIO_InitStruct.Pull = GPIO_NOPULL;
    GPIO_InitStruct.Speed = GPIO_SPEED_FREQ_HIGH;
    HAL_GPIO_Init(GPIOA, &GPIO_InitStruct);

    // PC0 yawSTEP, PC1 yawDIR, PC2 yawENA, PC4 리프트ENA
    GPIO_InitStruct.Pin = GPIO_PIN_0 | GPIO_PIN_1 |
                          GPIO_PIN_2 | GPIO_PIN_4;
    GPIO_InitStruct.Mode = GPIO_MODE_OUTPUT_PP;
    GPIO_InitStruct.Pull = GPIO_NOPULL;
    GPIO_InitStruct.Speed = GPIO_SPEED_FREQ_HIGH;
    HAL_GPIO_Init(GPIOC, &GPIO_InitStruct);
}

void Error_Handler(void)
{
    __disable_irq();
    while (1) {}
}
